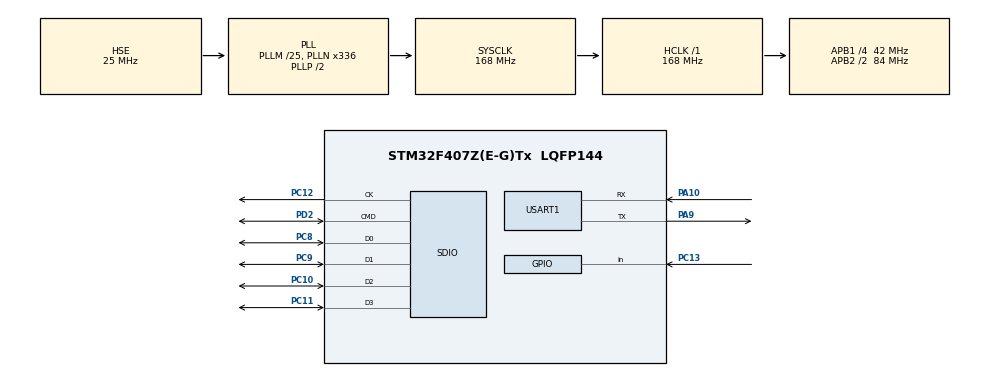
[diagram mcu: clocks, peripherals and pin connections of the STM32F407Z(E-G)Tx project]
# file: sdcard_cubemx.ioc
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Dma.Request0=SDIO
Dma.SDIO.0.Direction=DMA_PERIPH_TO_MEMORY
Dma.SDIO.0.FIFOMode=DMA_FIFOMODE_ENABLE
Dma.SDIO.0.FIFOThreshold=DMA_FIFO_THRESHOLD_FULL
Dma.SDIO.0.Instance=DMA2_Stream3
Dma.SDIO.0.MemBurst=DMA_MBURST_INC4
Dma.SDIO.0.MemDataAlignment=DMA_MDATAALIGN_WORD
Dma.SDIO.0.MemInc=DMA_MINC_ENABLE
Dma.SDIO.0.Mode=DMA_PFCTRL
Dma.SDIO.0.PeriphBurst=DMA_PBURST_INC4
Dma.SDIO.0.PeriphDataAlignment=DMA_PDATAALIGN_WORD
Dma.SDIO.0.PeriphInc=DMA_PINC_DISABLE
Dma.SDIO.0.Priority=DMA_PRIORITY_LOW
FATFS.BSP.number=1
FATFS.USE_DMA_CODE_SD=1
FATFS._USE_LFN=0
FATFS0.BSP.STBoard=false
FATFS0.BSP.api=Unknown
FATFS0.BSP.instance=PC13-ANTI_TAMP
FATFS0.BSP.ip=GPIO
FATFS0.BSP.mode=Input
FATFS0.BSP.name=Detect_SDIO
FATFS0.BSP.solution=PC13-ANTI_TAMP
Mcu.Family=STM32F4
Mcu.Name=STM32F407Z(E-G)Tx
Mcu.Package=LQFP144
NVIC.DMA2_Stream3_IRQn=true\:0\:0\:false\:false\:true\:false\:true\:true
NVIC.PriorityGroup=NVIC_PRIORITYGROUP_4
NVIC.SDIO_IRQn=true\:0\:0\:false\:false\:true\:true\:true\:true
PA10.Mode=Asynchronous
PA10.Signal=USART1_RX
PA9.Mode=Asynchronous
PA9.Signal=USART1_TX
PC10.Mode=SD_4_bits_Wide_bus
PC10.Signal=SDIO_D2
PC11.Mode=SD_4_bits_Wide_bus
PC11.Signal=SDIO_D3
PC12.Mode=SD_4_bits_Wide_bus
PC12.Signal=SDIO_CK
PC13-ANTI_TAMP.Signal=GPIO_Input
PC8.Mode=SD_4_bits_Wide_bus
PC8.Signal=SDIO_D0
PC9.Mode=SD_4_bits_Wide_bus
PC9.Signal=SDIO_D1
PD2.Mode=SD_4_bits_Wide_bus
PD2.Signal=SDIO_CMD
PH0-OSC_IN.Mode=HSE-External-Oscillator
PH0-OSC_IN.Signal=RCC_OSC_IN
PH1-OSC_OUT.Mode=HSE-External-Oscillator
PH1-OSC_OUT.Signal=RCC_OSC_OUT
ProjectManager.HeapSize=0x200
ProjectManager.StackSize=0x400
ProjectManager.TargetToolchain=STM32CubeIDE
RCC.48MHZClocksFreq_Value=48000000
RCC.AHBFreq_Value=168000000
RCC.APB1CLKDivider=RCC_HCLK_DIV4
RCC.APB1Freq_Value=42000000
RCC.APB1TimFreq_Value=84000000
RCC.APB2CLKDivider=RCC_HCLK_DIV2
RCC.APB2Freq_Value=84000000
RCC.APB2TimFreq_Value=168000000
RCC.CortexFreq_Value=168000000
RCC.HCLKFreq_Value=168000000
RCC.HSE_VALUE=25000000
RCC.HSI_VALUE=16000000
RCC.LSE_VALUE=32768
RCC.PLLM=25
RCC.PLLN=336
RCC.PLLQ=7
RCC.PLLSourceVirtual=RCC_PLLSOURCE_HSE
RCC.SYSCLKFreq_VALUE=168000000
RCC.SYSCLKSource=RCC_SYSCLKSOURCE_PLLCLK
RCC.VCOOutputFreq_Value=336000000
SDIO.HardwareFlowControl=SDIO_HARDWARE_FLOW_CONTROL_DISABLE
USART1.VirtualMode=VM_ASYNC
VP_FATFS_VS_SDIO.Mode=SDIO
board=custom

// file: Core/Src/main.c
/* USER CODE BEGIN Header */
/**
  ******************************************************************************
  * @file           : main.c
  * @brief          : Main program body
  ******************************************************************************
  * @attention
  *
  * Copyright (c) 2026 STMicroelectronics.
  * All rights reserved.
  *
  * This software is licensed under terms that can be found in the LICENSE file
  * in the root directory of this software component.
  * If no LICENSE file comes with this software, it is provided AS-IS.
  *
  ******************************************************************************
  */
/* USER CODE END Header */
#include "main.h"
#include "fatfs.h"

SD_HandleTypeDef hsd;
DMA_HandleTypeDef hdma_sdio;

UART_HandleTypeDef huart1;

void SystemClock_Config(void);
static void MX_GPIO_Init(void);
static void MX_DMA_Init(void);
static void MX_SDIO_SD_Init(void);
static void MX_USART1_UART_Init(void);

/* USER CODE BEGIN 0 */
#define hUART           huart1
int _write( int32_t file , uint8_t *ptr , int32_t len )
{
    /* Implement your write code here, this is used by puts and printf for example */
    for ( int16_t i = 0 ; i < len ; ++i )
    {
        HAL_UART_Transmit( &hUART, ptr++, 1, 100);
    }
    return len;
}

FIL MyFile;     /* File object */

void SDMMC_Initialization(void)
{
    /*##-1- Register the file system object to the FatFs module ##############*/
    if(f_mount(&SDFatFS, (TCHAR const*)SDPath, 0) != FR_OK)
    {
    	printf("Error f_mount !!\r\n");
        return;
    }
    printf("f_mount OK\r\n");
}

int SDMMC_Format(void)
{
	static uint8_t workBuffer[4096];

    /* ## Create a FAT file system (format) on the logical drive ######### */
    /* WARNING: Formatting the uSD card will delete all content on the device */
    if(f_mkfs((TCHAR const*)SDPath, FM_ANY, 0, workBuffer, sizeof(workBuffer)) == FR_OK)
    {
        printf("SDMMC Card Format OK\r\n");
        return 0;
    }
    else
    {
    	printf("Error FatFs Format Error !!\r\n");
        return -1;
    }
}

void SDMMC_Test(void)
{
    FRESULT res;                                          /* FatFs function common result code */
    uint32_t byteswritten, bytesread;                     /* File write/read counts */
    uint8_t wtext[] = "This is STM32 working with FatFs"; /* File write buffer */
    uint8_t rtext[100], buffer[100];                                   /* File read buffer */
    uint8_t retVal;

    /* Initialize SDMMC */
    SDMMC_Initialization();

    if(SDMMC_Format() < 0)
    {
    	printf("Error Format !!\r\n");
        return;
    }
    printf("Format OK\r\n");

    /*##-2- Create and Open a new text file object with write access #####*/
    if(f_open(&MyFile, "STM32.TXT", FA_CREATE_ALWAYS | FA_WRITE) != FR_OK)
    {
        /* 'STM32.TXT' file Open for write Error */
    	printf("Error STM32.TXT file Open for write !!\r\n");
        return;
    }
    printf("f_open STM32.TXT OK\r\n");

    /*##-3- Write data to the text file ################################*/
    res = f_write(&MyFile, wtext, sizeof(wtext), (void *)&byteswritten);

    if((byteswritten == 0) || (res != FR_OK))
    {
        /* 'STM32.TXT' file Write or EOF Error */
    	printf("Error STM32.TXT file Write or EOF Error !!\r\n");
        return;
    }

    printf("STM32.TXT file Write OK\r\n");
    printf("%s written\r\n", wtext);

    /*##-4- Close the open text file #################################*/
    if (f_close(&MyFile) != FR_OK )
    {
    	printf("Error STM32.TXT file close !!\r\n");
        return;
    }
    printf("f_close STM32.TXT OK\r\n");

    /*##-5- Open the text file object with read access ###############*/
    if(f_open(&MyFile, "STM32.TXT", FA_READ) != FR_OK)
    {
        /* 'STM32.TXT' file Open for read Error */
    	printf("Error STM32.TXT file Open for read Error !!\r\n");
        return;
    }
    printf("f_open STM32.TXT OK\r\n");

    /*##-6- Read data from the text file ###########################*/
    res = f_read(&MyFile, rtext, sizeof(rtext), (UINT*)&bytesread);

    if((bytesread == 0) || (res != FR_OK))
    {
        /* 'STM32.TXT' file Read or EOF Error */
    	printf("Error STM32.TXT file Read or EOF Error !!\r\n");
        return;
    }
    printf("f_read STM32.TXT OK\r\n");
    memset(buffer, 0x00, sizeof(buffer));
    snprintf(buffer, bytesread, "%s", rtext);

    printf("%s read\r\n", buffer);

    /*##-7- Close the open text file #############################*/
    f_close(&MyFile);

    printf("f_close STM32.TXT OK\r\n");

    /*##-8- Compare read data with the expected data ############*/
    if((bytesread != byteswritten))
    {
        /* Read data is different from the expected data */
    	printf("Error Read data is different from the expected data !!\r\n");
        return;
    }
}
/* USER CODE END 0 */

int main(void)
{

  /* MCU Configuration--------------------------------------------------------*/

  /* Reset of all peripherals, Initializes the Flash interface and the Systick. */
  HAL_Init();

  /* Configure the system clock */
  SystemClock_Config();

  /* Initialize all configured peripherals */
  MX_GPIO_Init();
  MX_DMA_Init();
  MX_SDIO_SD_Init();
  MX_USART1_UART_Init();
  MX_FATFS_Init();
  /* USER CODE BEGIN 2 */
  SDMMC_Test();
  /* USER CODE END 2 */

  /* Infinite loop */
  while (1)
  {

  }
}

void SystemClock_Config(void)
{
  RCC_OscInitTypeDef RCC_OscInitStruct = {0};
  RCC_ClkInitTypeDef RCC_ClkInitStruct = {0};

  /** Configure the main internal regulator output voltage
  */
  __HAL_RCC_PWR_CLK_ENABLE();
  __HAL_PWR_VOLTAGESCALING_CONFIG(PWR_REGULATOR_VOLTAGE_SCALE1);

  /** Initializes the RCC Oscillators according to the specified parameters
  * in the RCC_OscInitTypeDef structure.
  */
  RCC_OscInitStruct.OscillatorType = RCC_OSCILLATORTYPE_HSE;
  RCC_OscInitStruct.HSEState = RCC_HSE_ON;
  RCC_OscInitStruct.PLL.PLLState = RCC_PLL_ON;
  RCC_OscInitStruct.PLL.PLLSource = RCC_PLLSOURCE_HSE;
  RCC_OscInitStruct.PLL.PLLM = 25;
  RCC_OscInitStruct.PLL.PLLN = 336;
  RCC_OscInitStruct.PLL.PLLP = RCC_PLLP_DIV2;
  RCC_OscInitStruct.PLL.PLLQ = 7;
  if (HAL_RCC_OscConfig(&RCC_OscInitStruct) != HAL_OK)
  {
    Error_Handler();
  }

  /** Initializes the CPU, AHB and APB buses clocks
  */
  RCC_ClkInitStruct.ClockType = RCC_CLOCKTYPE_HCLK|RCC_CLOCKTYPE_SYSCLK
                              |RCC_CLOCKTYPE_PCLK1|RCC_CLOCKTYPE_PCLK2;
  RCC_ClkInitStruct.SYSCLKSource = RCC_SYSCLKSOURCE_PLLCLK;
  RCC_ClkInitStruct.AHBCLKDivider = RCC_SYSCLK_DIV1;
  RCC_ClkInitStruct.APB1CLKDivider = RCC_HCLK_DIV4;
  RCC_ClkInitStruct.APB2CLKDivider = RCC_HCLK_DIV2;

  if (HAL_RCC_ClockConfig(&RCC_ClkInitStruct, FLASH_LATENCY_5) != HAL_OK)
  {
    Error_Handler();
  }
}

static void MX_SDIO_SD_Init(void)
{

  hsd.Instance = SDIO;
  hsd.Init.ClockEdge = SDIO_CLOCK_EDGE_RISING;
  hsd.Init.ClockBypass = SDIO_CLOCK_BYPASS_DISABLE;
  hsd.Init.ClockPowerSave = SDIO_CLOCK_POWER_SAVE_DISABLE;
  hsd.Init.BusWide = SDIO_BUS_WIDE_1B;
  hsd.Init.HardwareFlowControl = SDIO_HARDWARE_FLOW_CONTROL_DISABLE;
  hsd.Init.ClockDiv = 0;

}

static void MX_USART1_UART_Init(void)
{

  huart1.Instance = USART1;
  huart1.Init.BaudRate = 115200;
  huart1.Init.WordLength = UART_WORDLENGTH_8B;
  huart1.Init.StopBits = UART_STOPBITS_1;
  huart1.Init.Parity = UART_PARITY_NONE;
  huart1.Init.Mode = UART_MODE_TX_RX;
  huart1.Init.HwFlowCtl = UART_HWCONTROL_NONE;
  huart1.Init.OverSampling = UART_OVERSAMPLING_16;
  if (HAL_UART_Init(&huart1) != HAL_OK)
  {
    Error_Handler();
  }

}

static void MX_DMA_Init(void)
{

  /* DMA controller clock enable */
  __HAL_RCC_DMA2_CLK_ENABLE();

  /* DMA interrupt init */
  /* DMA2_Stream3_IRQn interrupt configuration */
  HAL_NVIC_SetPriority(DMA2_Stream3_IRQn, 0, 0);
  HAL_NVIC_EnableIRQ(DMA2_Stream3_IRQn);

}

static void MX_GPIO_Init(void)
{
  GPIO_InitTypeDef GPIO_InitStruct = {0};

  /* GPIO Ports Clock Enable */
  __HAL_RCC_GPIOC_CLK_ENABLE();
  __HAL_RCC_GPIOH_CLK_ENABLE();
  __HAL_RCC_GPIOA_CLK_ENABLE();
  __HAL_RCC_GPIOD_CLK_ENABLE();

  /*Configure GPIO pin : PC13 */
  GPIO_InitStruct.Pin = GPIO_PIN_13;
  GPIO_InitStruct.Mode = GPIO_MODE_INPUT;
  GPIO_InitStruct.Pull = GPIO_NOPULL;
  HAL_GPIO_Init(GPIOC, &GPIO_InitStruct);

}

void Error_Handler(void)
{
  __disable_irq();
  while (1)
  {
  }
}
